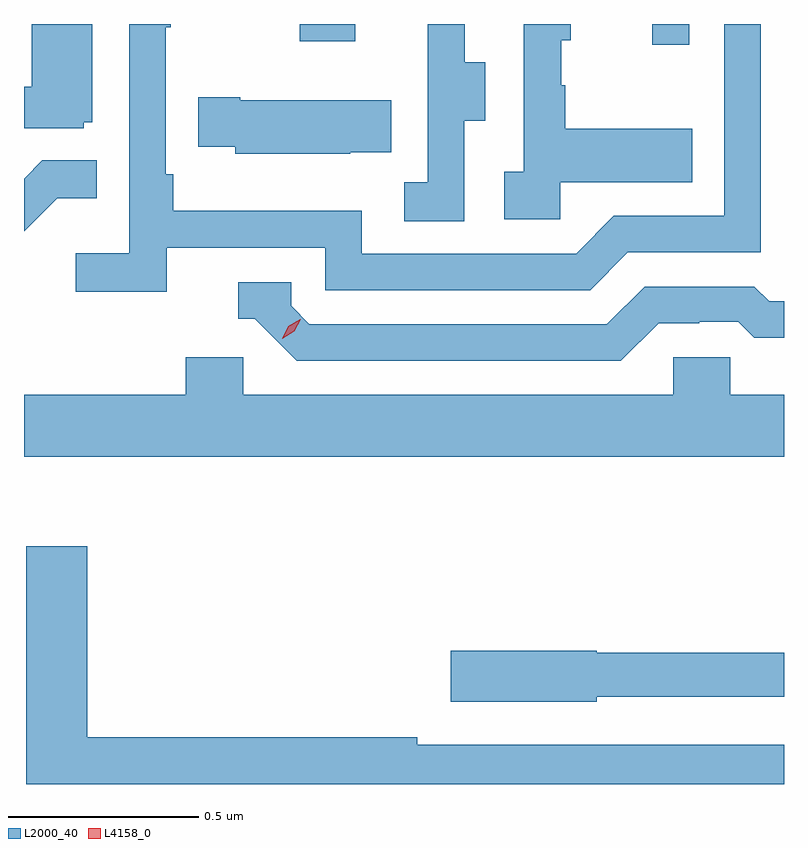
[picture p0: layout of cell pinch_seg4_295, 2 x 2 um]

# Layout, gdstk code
import gdstk
lib = gdstk.Library(unit=1e-6, precision=1e-09)
def R(c, l, rs):  # rectangles x0, y0, x1, y1
    for r in rs: c.add(gdstk.rectangle(r[:2], r[2:], *l))
def P(c, l, *ps):  # polygons
    for p in ps: c.add(gdstk.Polygon(p, *l))
L2000_40 = (2000, 40)
L4158_0 = (4158, 0)

pinch_seg4_295 = lib.new_cell('pinch_seg4_295')
R(pinch_seg4_295, L2000_40, [(914.672,811.224,914.769,811.279), (913.744,811.233,913.891,811.279)])
P(pinch_seg4_295, L2000_40, [(913.176,811.02),(913.198,811.02),(913.198,811.279),(913.04,811.279),(913.04,811.114),(913.019,811.114),(913.019,811.005),(913.176,811.005)],
  [(914.178,811.024),(914.233,811.024),(914.233,811.179),(914.179,811.179),(914.179,811.279),(914.081,811.279),(914.081,811.167),(914.082,811.167),(914.082,810.863),(914.019,810.863),(914.019,810.76),(914.178,810.76)],
  [(913.394,810.69),(913.812,810.69),(913.812,810.579),(914.509,810.579),(914.608,810.678),(914.958,810.678),(914.958,811.279),(914.862,811.279),(914.862,810.774),(914.571,810.774),(914.472,810.675),(913.908,810.675),(913.908,810.787),(913.412,810.787),(913.412,810.883),(913.392,810.883),(913.392,811.271),(913.405,811.271),(913.405,811.279),(913.296,811.279),(913.296,810.676),(913.155,810.676),(913.155,810.574),(913.394,810.574)],
  [(914.43,810.863),(914.777,810.863),(914.777,811.003),(914.443,811.003),(914.443,811.118),(914.433,811.118),(914.433,811.236),(914.458,811.236),(914.458,811.279),(914.334,811.279),(914.334,810.89),(914.283,810.89),(914.283,810.765),(914.43,810.765)],
  [(913.877,810.941),(913.985,810.941),(913.985,811.078),(913.588,811.078),(913.588,811.086),(913.477,811.086),(913.477,810.956),(913.575,810.956),(913.575,810.938),(913.877,810.938)],
  [(913.107,810.821),(913.211,810.821),(913.211,810.92),(913.067,810.92),(913.019,810.872),(913.019,810.733)],
  [(914.689,810.492),(914.796,810.492),(914.796,810.495),(914.899,810.495),(914.941,810.453),(915.019,810.453),(915.019,810.549),(914.98,810.549),(914.941,810.588),(914.652,810.588),(914.553,810.489),(913.77,810.489),(913.722,810.537),(913.722,810.6),(913.583,810.6),(913.583,810.504),(913.626,810.504),(913.737,810.393),(914.59,810.393)],
  [(915.019,810.304),(914.877,810.304),(914.877,810.402),(914.727,810.402),(914.727,810.304),(913.596,810.304),(913.596,810.402),(913.445,810.402),(913.445,810.304),(913.019,810.304),(913.019,810.14),(915.019,810.14)],
  [(915.019,809.382),(914.054,809.382),(914.054,809.402),(913.186,809.402),(913.186,809.905),(913.025,809.905),(913.025,809.279),(915.019,809.279)],
  [(914.526,809.508),(915.019,809.508),(915.019,809.624),(914.526,809.624),(914.526,809.63),(914.142,809.63),(914.142,809.495),(914.526,809.495)])
P(pinch_seg4_295, L4158_0, [(913.699,810.451),(913.699,810.451),(913.715,810.484),(913.746,810.502),(913.747,810.502),(913.747,810.502),(913.73,810.47),(913.699,810.451)])

lib.write_gds('pinch_seg4_295.gds')
